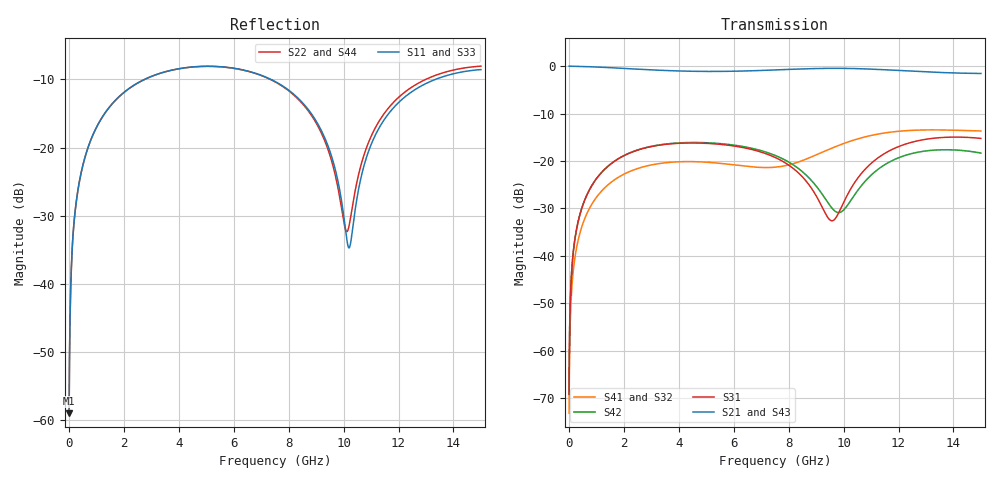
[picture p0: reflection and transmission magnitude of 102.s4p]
! Created with skrf 1.8.0 (http://scikit-rf.org).
# GHz S RI R 50.0
!freq ReS11 ImS11 ReS12 ImS12 ReS13 ImS13
! ReS14 ImS14
! ReS21 ImS21 ReS22 ImS22 ReS23 ImS23
! ReS24 ImS24
! ReS31 ImS31 ReS32 ImS32 ReS33 ImS33
! ReS34 ImS34
! ReS41 ImS41 ReS42 ImS42 ReS43 ImS43
! ReS44 ImS44
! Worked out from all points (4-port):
!   2499 points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, 5 MHz to 15 GHz, reference 50 ohm
!   strongest paths, dB at 5 MHz, 3.476 GHz, 7.19 GHz, 11.1 GHz, 15 GHz:
!     S21: 0.0, -0.9, -0.9, -0.7, -1.5
!     S43: 0.0, -0.9, -0.9, -0.7, -1.5
!     S31: -69.2, -16.5, -18.5, -20.0, -15.2
!     S42: -69.2, -16.5, -18.2, -22.5, -18.3
!     S41: -73.2, -20.4, -21.4, -14.5, -13.7
!     S32: -73.2, -20.4, -21.6, -14.5, -13.8
!   lowest |S11| = -59.0 dB at 5 MHz (marker M1), VSWR 1.00, Z = 50.1 + j0.0677 ohm
!   |S11| at or under -10 dB: start of sweep to 2.746 GHz; 7.362 GHz to 13.34 GHz (5.974 GHz wide, 57.7 % of centre)
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0.005  0.000888 0.000676  0.9991 -0.00173  4.25e-05 0.000344  -4.14e-05 -0.000215
       0.9991 -0.00173  0.000888 0.000676  -4.14e-05 -0.000215  4.25e-05 0.000344
       4.25e-05 0.000344  -4.14e-05 -0.000215  0.000888 0.000676  0.9991 -0.00173
       -4.14e-05 -0.000215  4.25e-05 0.000344  0.9991 -0.00173  0.000888 0.000676
0.4126719  0.0129 0.0596  0.9822 -0.1431  0.00563 0.0277  -0.00473 -0.0174
           0.9822 -0.1431  0.0129 0.0596  -0.00472 -0.0174  0.00572 0.0277
           0.00563 0.0277  -0.00472 -0.0174  0.0129 0.0596  0.9822 -0.1431
           -0.00473 -0.0174  0.00572 0.0277  0.9822 -0.1431  0.0129 0.0596
2.025844  0.1699 0.192  0.7395 -0.5887  0.0845 0.0776  -0.0657 -0.0324
          0.7395 -0.5887  0.1698 0.1919  -0.0654 -0.0326  0.0861 0.0763
          0.0845 0.0776  -0.0654 -0.0326  0.1701 0.1919  0.7395 -0.5887
          -0.0657 -0.0324  0.0861 0.0763  0.7395 -0.5887  0.1697 0.192
7.928303  0.192 -0.1907  -0.6521 -0.6514  0.065 -0.0672  -0.0367 0.0821
          -0.6521 -0.6514  0.1924 -0.1866  -0.0403 0.0783  0.0396 -0.0921
          0.065 -0.0672  -0.0403 0.0783  0.1911 -0.1926  -0.6519 -0.6516
          -0.0367 0.0821  0.0396 -0.0921  -0.6519 -0.6516  0.1938 -0.1847
10.20425  0.0183 0.000366  -0.9444 -0.0404  0.036 0.0311  0.00215 0.1603
          -0.9444 -0.0404  0.0246 0.0107  -0.00668 0.1601  -0.023 0.028
          0.036 0.0311  -0.00668 0.1601  0.0159 -0.000221  -0.9444 -0.041
          0.00215 0.1603  -0.023 0.028  -0.9444 -0.041  0.0276 0.00989
11.56107  0.0922 0.1417  -0.8423 0.3548  0.1089 0.0575  0.1018 0.1708
          -0.8423 0.3548  0.1097 0.1516  0.092 0.1753  0.0436 0.0829
          0.1089 0.0575  0.092 0.1753  0.0905 0.1423  -0.8428 0.3543
          0.1018 0.1708  0.0436 0.0829  -0.8428 0.3543  0.1109 0.1486
15  0.3704 0.0508  -0.1499 0.8234  0.1379 -0.1046  0.2056 -0.0262
    -0.1499 0.8234  0.3952 0.0263  0.203 -0.0102  0.1179 -0.0282
    0.1379 -0.1046  0.203 -0.0102  0.3706 0.0489  -0.1505 0.8242
    0.2056 -0.0262  0.1179 -0.0282  -0.1505 0.8242  0.391 0.0264
